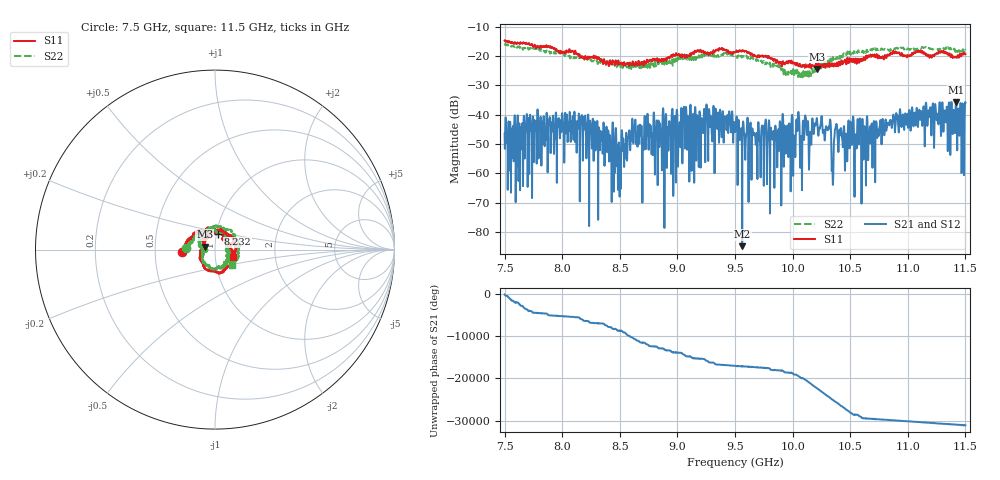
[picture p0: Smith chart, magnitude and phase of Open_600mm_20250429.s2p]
#  HZ  S  DB  R  50.00
! Rohde & Schwarz ZVA40 2Ports - Version 4.11 - 1145.1110k40 SN: 100216
! Date: 2025-04-29 18:23:23
! Measurements: S11 S21 S12 S22
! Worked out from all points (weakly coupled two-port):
!   5001 points, 7.5 GHz to 11.5 GHz, reference 50 ohm
!   highest |S21| = -35.67 dB at 11.42 GHz (marker M1); lowest = -84.8 dB at 9.562 GHz (marker M2)
!   lowest |S11| = -24.5 dB at 10.21 GHz (marker M3), VSWR 1.13, Z = 44.6 + j1.53 ohm
!   |S11| at or under -10 dB: start of sweep to end of sweep
!   |S22| runs from -27.5 to -15.8 dB; largest |S21 - S12| = 0.00013
!   S11 on the Smith chart (normalised r, x): 7.5 GHz: 0.69, -0.02; 8.232 GHz: 1.02, +0.18; 11.5 GHz: 1.22, -0.10
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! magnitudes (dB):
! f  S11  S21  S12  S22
! 7.5 GHz  -14.7  -46.4  -46.3  -15.8
! 7.615 GHz  -15.5  -40.8  -40.7  -16.8
! 7.706 GHz  -16.1  -41.1  -41.1  -17.7
! 8.167 GHz  -20.3  -40.6  -40.6  -20.6
! 8.232 GHz  -20.9  -52.5  -52.5  -21.1
! 8.396 GHz  -22.3  -46.7  -46.7  -22.4
! 8.491 GHz  -22.3  -49.5  -49.4  -23.6
! 8.62 GHz  -22.7  -48.3  -48.3  -23.7
! 8.834 GHz  -22.0  -43.3  -43.3  -23.6
! 9.068 GHz  -20.7  -46.9  -46.9  -21.1
! 9.5 GHz  -18.7  -45.6  -45.6  -20.0
! 9.562 GHz  -18.1  -84.8  -99.0  -20.3
! 10.17 GHz  -23.2  -44.2  -44.1  -24.4
! 10.21 GHz  -24.5  -42.3  -42.2  -24.8
! 10.31 GHz  -22.5  -44.0  -44.0  -21.6
! 10.35 GHz  -22.9  -61.2  -61.5  -20.7
! 10.38 GHz  -23.5  -43.6  -43.6  -21.1
! 10.55 GHz  -22.3  -50.5  -50.4  -18.4
! 10.58 GHz  -22.3  -48.3  -48.3  -18.6
! 10.83 GHz  -19.7  -43.1  -43.1  -18.2
! 11.42 GHz  -20.3  -35.7  -35.6  -18.0
! 11.5 GHz  -19.4  -36.0  -36.0  -18.0
